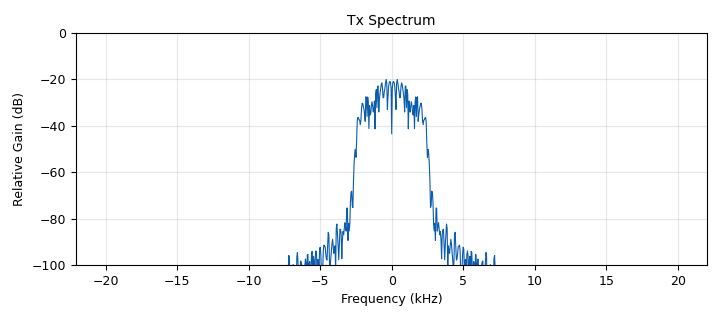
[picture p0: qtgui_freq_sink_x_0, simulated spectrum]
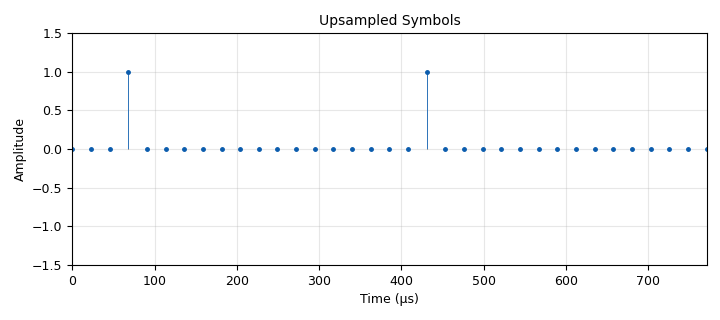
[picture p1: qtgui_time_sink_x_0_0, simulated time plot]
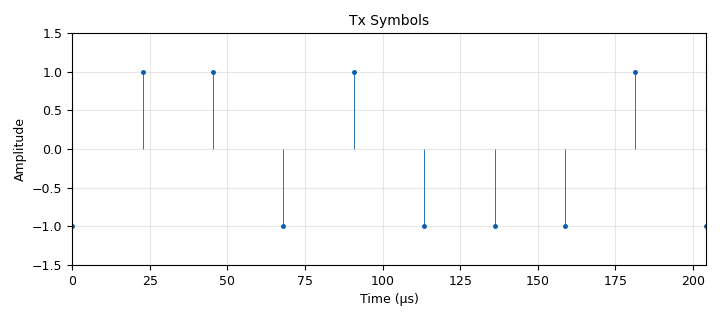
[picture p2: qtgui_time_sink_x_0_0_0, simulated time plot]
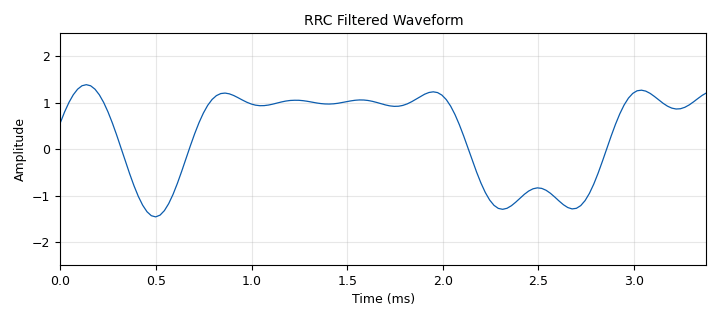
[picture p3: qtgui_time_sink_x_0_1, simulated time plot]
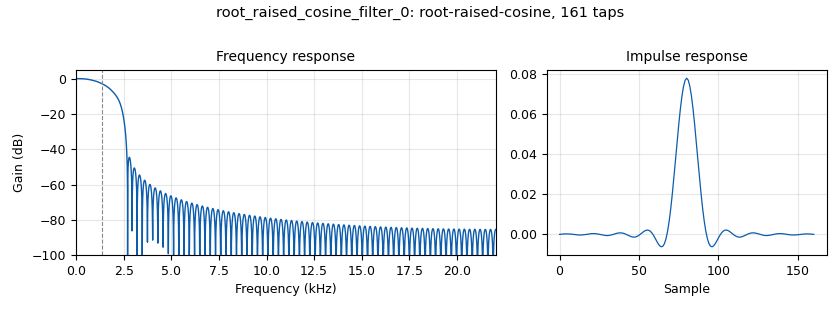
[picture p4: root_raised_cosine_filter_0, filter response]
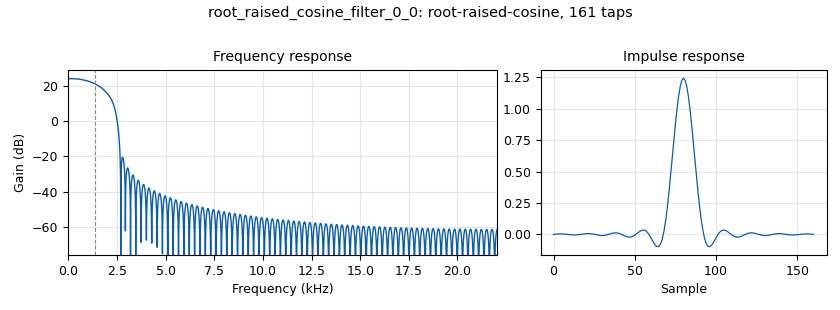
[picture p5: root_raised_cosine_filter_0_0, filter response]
options:
  parameters:
    author: Qasim Chaudhari
    generate_options: qt_gui
    id: pam_rx_rrc
    output_language: python
    title: PAM Rx RRC
  states: {}

blocks:
- name: delay_range
  id: variable_qtgui_range
  parameters:
    start: '0'
    step: '100'
    stop: '50000'
    value: '43000'
  states: {}
- name: excess_bw
  id: variable_qtgui_chooser
  parameters:
    gui_hint: 0,0,1,1
    label: Excess Bandwidth
    label0: '0.9'
    label1: '0.5'
    label2: '0.1'
    num_opts: '3'
    option0: '0.9'
    option1: '0.5'
    option2: '0.1'
    orient: Qt.QHBoxLayout
    type: real
    value: '0.9'
    widget: radio_buttons
  states: {}
- name: samp_per_sym
  id: variable
  parameters:
    value: '16'
  states: {}
- name: samp_rate
  id: variable
  parameters:
    value: '44100'
  states: {}
- name: analog_random_source_x_0
  id: analog_random_source_x
  parameters:
    comment: Bits Generation
    max: '2'
    min: '0'
    num_samps: '10000'
    repeat: 'True'
    type: byte
  states: {}
- name: audio_sink_0
  id: audio_sink
  parameters:
    samp_rate: samp_rate
  states: {}
- name: audio_source_0
  id: audio_source
  parameters:
    samp_rate: samp_rate
  states: {}
- name: blocks_char_to_float_0
  id: blocks_char_to_float
  parameters:
    scale: '1'
  states: {}
- name: blocks_delay_0
  id: blocks_delay
  parameters:
    comment: samp_per_sym*8-55+4230 for direct connection
    delay: delay_range
    type: float
  states: {}
- name: blocks_float_to_complex_0
  id: blocks_float_to_complex
  parameters: {}
  states: {}
- name: blocks_float_to_int_0
  id: blocks_float_to_int
  parameters:
    scale: '1'
  states: {}
- name: blocks_int_to_float_0
  id: blocks_int_to_float
  parameters:
    scale: '1'
  states: {}
- name: blocks_keep_one_in_n_0
  id: blocks_keep_one_in_n
  parameters:
    n: samp_per_sym
    type: int
  states: {}
- name: blocks_multiply_const_vxx_0
  id: blocks_multiply_const_vxx
  parameters:
    const: '2'
    type: float
  states: {}
- name: blocks_multiply_const_vxx_0_0
  id: blocks_multiply_const_vxx
  parameters:
    const: '0.2'
    type: float
  states: {}
- name: blocks_multiply_const_vxx_0_0_0
  id: blocks_multiply_const_vxx
  parameters:
    const: '0.2'
    type: float
  states: {state: disabled}
- name: blocks_pack_k_bits_bb_0
  id: blocks_pack_k_bits_bb
  parameters:
    k: '1'
  states: {}
- name: blocks_skiphead_0
  id: blocks_skiphead
  parameters:
    num_items: '1'
    type: int
  states: {}
- name: blocks_throttle2_0
  id: blocks_throttle2
  parameters:
    samples_per_second: samp_rate
    type: byte
  states: {}
- name: blocks_wavfile_sink_0
  id: blocks_wavfile_sink
  parameters:
    bits_per_sample1: FORMAT_PCM_16
    file: /home/user/data/Exercise_3d_PAM_Rx_RRC_sc_bits.wav
    format: FORMAT_WAV
    nchan: '2'
    samp_rate: samp_rate
  states: {state: disabled}
- name: blocks_wavfile_sink_0_0
  id: blocks_wavfile_sink
  parameters:
    bits_per_sample1: FORMAT_PCM_16
    file: /home/user/data/Exercise_3d_PAM_Rx_RRC_sc.wav
    format: FORMAT_WAV
    nchan: '3'
    samp_rate: samp_rate
  states: {state: disabled}
- name: digital_map_bb_0
  id: digital_map_bb
  parameters:
    comment: Look-Up Table
    map: (-1,1)
  states: {}
- name: import_0
  id: import
  parameters:
    imports: import numpy as np
  states: {}
- name: interp_fir_filter_xxx_0
  id: interp_fir_filter_xxx
  parameters:
    comment: Upsampler
    interp: samp_per_sym
    taps: np.hstack((1,np.zeros(samp_per_sym-1)))
    type: fff
  states: {}
- name: note_0_0_0
  id: note
  parameters:
    note: Downsampler
  states: {}
- name: qtgui_const_sink_x_0
  id: qtgui_const_sink_x
  parameters:
    grid: 'True'
    gui_hint: 2,3,1,1
    legend: 'False'
    name: Scatter Plot
    size: '100'
    type: complex
  states: {}
- name: qtgui_freq_sink_x_0
  id: qtgui_freq_sink_x
  parameters:
    bw: samp_rate
    fc: '0'
    fftsize: '1024'
    grid: 'True'
    gui_hint: 1,3,1,1
    legend: 'False'
    name: Tx Spectrum
    type: float
    ymax: '0'
    ymin: '-100'
  states: {}
- name: qtgui_freq_sink_x_0_0
  id: qtgui_freq_sink_x
  parameters:
    bw: samp_rate
    fc: '0'
    fftsize: '1024'
    grid: 'True'
    gui_hint: 2,0,1,1
    legend: 'False'
    name: Spectrum after Matched Filter
    type: float
    ymax: '0'
    ymin: '-100'
  states: {}
- name: qtgui_time_sink_x_0
  id: qtgui_time_sink_x
  parameters:
    grid: 'True'
    gui_hint: 2,2,1,1
    label1: ''
    legend: 'False'
    marker1: '0'
    name: Downsampled Symbols
    size: '10'
    srate: samp_rate
    stemplot: 'True'
    type: float
    width1: '2'
    ymax: '1.5'
    ymin: '-1.5'
  states: {}
- name: qtgui_time_sink_x_0_0
  id: qtgui_time_sink_x
  parameters:
    grid: 'True'
    gui_hint: 1,1,1,1
    label1: ''
    legend: 'False'
    marker1: '0'
    name: Upsampled Symbols
    size: '35'
    srate: samp_rate
    stemplot: 'True'
    type: float
    width1: '2'
    ymax: '1.5'
    ymin: '-1.5'
  states: {}
- name: qtgui_time_sink_x_0_0_0
  id: qtgui_time_sink_x
  parameters:
    grid: 'True'
    gui_hint: 1,0,1,1
    label1: ''
    legend: 'False'
    marker1: '0'
    name: Tx Symbols
    size: '10'
    srate: samp_rate
    stemplot: 'True'
    type: float
    width1: '2'
    ymax: '1.5'
    ymin: '-1.5'
  states: {}
- name: qtgui_time_sink_x_0_1
  id: qtgui_time_sink_x
  parameters:
    grid: 'True'
    gui_hint: 1,2,1,1
    label1: ''
    legend: 'False'
    name: RRC Filtered Waveform
    size: '150'
    srate: samp_rate
    type: float
    width1: '2'
    ymax: '2.5'
    ymin: '-2.5'
  states: {}
- name: qtgui_time_sink_x_0_2
  id: qtgui_time_sink_x
  parameters:
    grid: 'True'
    gui_hint: 2,1,1,1
    label1: ''
    legend: 'False'
    name: Waveform after Matched Filter
    size: '150'
    srate: samp_rate
    type: float
    width1: '2'
    ymax: '2.5'
    ymin: '-2.5'
  states: {}
- name: qtgui_time_sink_x_0_3
  id: qtgui_time_sink_x
  parameters:
    ctrlpanel: 'True'
    grid: 'True'
    label1: TX
    label2: RX
    marker1: '0'
    marker2: '1'
    name: Symbols Compare
    nconnections: '2'
    size: '10'
    srate: samp_rate
    stemplot: 'True'
    type: float
    width1: '2'
    ymax: '1.5'
    ymin: '-1.5'
  states: {}
- name: root_raised_cosine_filter_0
  id: root_raised_cosine_filter
  parameters:
    alpha: excess_bw
    comment: Matched Filter
    decim: '1'
    gain: '1'
    ntaps: 10*samp_per_sym+1
    samp_rate: samp_rate
    sym_rate: samp_rate/samp_per_sym
    type: fir_filter_fff
  states: {}
- name: root_raised_cosine_filter_0_0
  id: root_raised_cosine_filter
  parameters:
    alpha: excess_bw
    comment: Pulse Shaping Filter
    gain: samp_per_sym
    interp: '1'
    ntaps: 10*samp_per_sym+1
    samp_rate: samp_rate
    sym_rate: samp_rate/samp_per_sym
    type: interp_fir_filter_fff
  states: {}

connections:
- [analog_random_source_x_0, '0', blocks_throttle2_0, '0']
- [audio_source_0, '0', blocks_multiply_const_vxx_0, '0']
- [audio_source_0, '0', blocks_wavfile_sink_0_0, '1']
- [blocks_char_to_float_0, '0', blocks_delay_0, '0']
- [blocks_char_to_float_0, '0', interp_fir_filter_xxx_0, '0']
- [blocks_char_to_float_0, '0', qtgui_time_sink_x_0_0_0, '0']
- [blocks_delay_0, '0', blocks_wavfile_sink_0, '0']
- [blocks_delay_0, '0', qtgui_time_sink_x_0_3, '0']
- [blocks_float_to_complex_0, '0', qtgui_const_sink_x_0, '0']
- [blocks_float_to_int_0, '0', blocks_skiphead_0, '0']
- [blocks_int_to_float_0, '0', blocks_float_to_complex_0, '0']
- [blocks_int_to_float_0, '0', blocks_wavfile_sink_0, '1']
- [blocks_int_to_float_0, '0', qtgui_time_sink_x_0, '0']
- [blocks_int_to_float_0, '0', qtgui_time_sink_x_0_3, '1']
- [blocks_keep_one_in_n_0, '0', blocks_int_to_float_0, '0']
- [blocks_multiply_const_vxx_0, '0', root_raised_cosine_filter_0, '0']
- [blocks_multiply_const_vxx_0_0, '0', audio_sink_0, '0']
- [blocks_multiply_const_vxx_0_0, '0', blocks_wavfile_sink_0_0, '0']
- [blocks_multiply_const_vxx_0_0_0, '0', blocks_wavfile_sink_0_0, '2']
- [blocks_pack_k_bits_bb_0, '0', digital_map_bb_0, '0']
- [blocks_skiphead_0, '0', blocks_keep_one_in_n_0, '0']
- [blocks_throttle2_0, '0', blocks_pack_k_bits_bb_0, '0']
- [digital_map_bb_0, '0', blocks_char_to_float_0, '0']
- [interp_fir_filter_xxx_0, '0', qtgui_time_sink_x_0_0, '0']
- [interp_fir_filter_xxx_0, '0', root_raised_cosine_filter_0_0, '0']
- [root_raised_cosine_filter_0, '0', blocks_float_to_int_0, '0']
- [root_raised_cosine_filter_0, '0', blocks_multiply_const_vxx_0_0_0, '0']
- [root_raised_cosine_filter_0, '0', qtgui_freq_sink_x_0_0, '0']
- [root_raised_cosine_filter_0, '0', qtgui_time_sink_x_0_2, '0']
- [root_raised_cosine_filter_0_0, '0', blocks_multiply_const_vxx_0_0, '0']
- [root_raised_cosine_filter_0_0, '0', qtgui_freq_sink_x_0, '0']
- [root_raised_cosine_filter_0_0, '0', qtgui_time_sink_x_0_1, '0']

metadata:
  file_format: 1
  grc_version: 3.10.9.2
